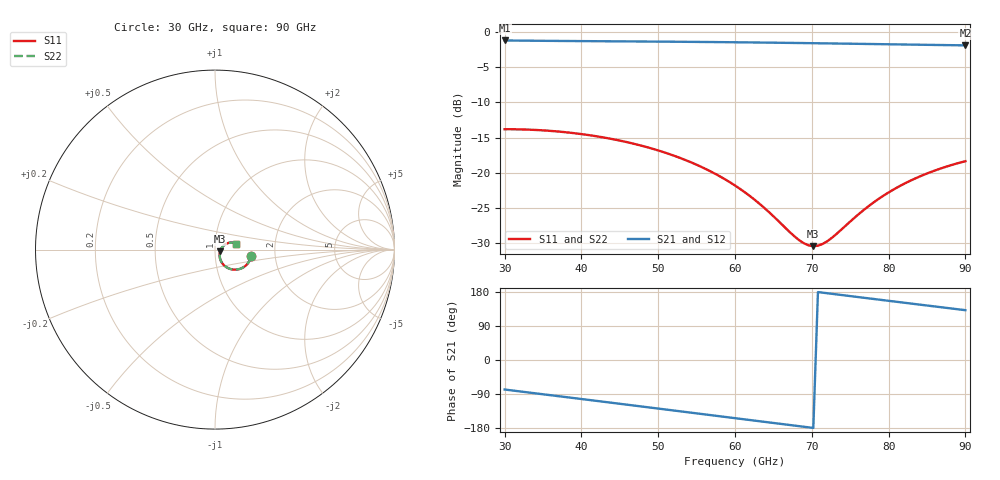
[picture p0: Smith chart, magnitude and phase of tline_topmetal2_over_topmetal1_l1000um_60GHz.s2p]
#  GHZ S DB R 50
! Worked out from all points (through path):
!   101 points, 30 GHz to 90 GHz, reference 50 ohm
!   highest |S21| = -1.20 dB at 30 GHz (marker M1); lowest = -1.9 dB at 90 GHz (marker M2)
!   group delay of S21, straight-line fit = 6.99 ps
!   lowest |S11| = -30.4 dB at 70.2 GHz (marker M3), VSWR 1.06, Z = 52.9 - j0.971 ohm
!   |S11| at or under -10 dB: start of sweep to end of sweep
!   |S22| runs from -30.4 to -13.8 dB; largest |S21 - S12| = 1.5e-13
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30  -13.82 -10.8  -1.20 -77.9  -1.20 -77.9  -13.82 -10.7
33  -13.87 -16.8  -1.23 -85.4  -1.23 -85.4  -13.88 -16.8
35.4  -14.01 -21.7  -1.25 -91.4  -1.25 -91.4  -14.02 -21.6
40.2  -14.54 -31.3  -1.29 -103.5  -1.29 -103.5  -14.54 -31.2
45  -15.43 -40.6  -1.32 -115.5  -1.32 -115.5  -15.44 -40.5
50.4  -16.97 -50.5  -1.36 -129.2  -1.36 -129.2  -16.98 -50.4
53.4  -18.14 -55.3  -1.39 -136.7  -1.39 -136.7  -18.14 -55.2
55.8  -19.27 -58.7  -1.41 -142.8  -1.41 -142.8  -19.28 -58.5
60  -21.82 -62.4  -1.45 -153.5  -1.45 -153.5  -21.83 -62.1
61.8  -23.20 -62.4  -1.47 -158.0  -1.47 -158.0  -23.21 -62.1
63.6  -24.80 -60.7  -1.50 -162.6  -1.50 -162.6  -24.80 -60.4
68.4  -29.63 -37.3  -1.56 -174.7  -1.56 -174.7  -29.60 -36.9
69.6  -30.34 -24.7  -1.58 -177.7  -1.58 -177.7  -30.29 -24.4
70.2  -30.45 -17.8  -1.59 -179.3  -1.59 -179.3  -30.40 -17.5
70.8  -30.38 -10.8  -1.59 179.2  -1.59 179.2  -30.33 -10.6
72  -29.76 1.7  -1.61 176.2  -1.61 176.2  -29.71 1.9
76.8  -25.27 25.2  -1.69 164.2  -1.69 164.2  -25.25 25.2
78.6  -23.80 27.0  -1.72 159.7  -1.72 159.7  -23.79 27.0
80.4  -22.55 27.1  -1.75 155.2  -1.75 155.2  -22.54 27.1
84.6  -20.29 23.8  -1.81 144.8  -1.81 144.8  -20.29 23.8
87  -19.32 20.6  -1.85 138.9  -1.85 138.9  -19.32 20.7
90  -18.36 16.1  -1.89 131.5  -1.89 131.5  -18.37 16.2
